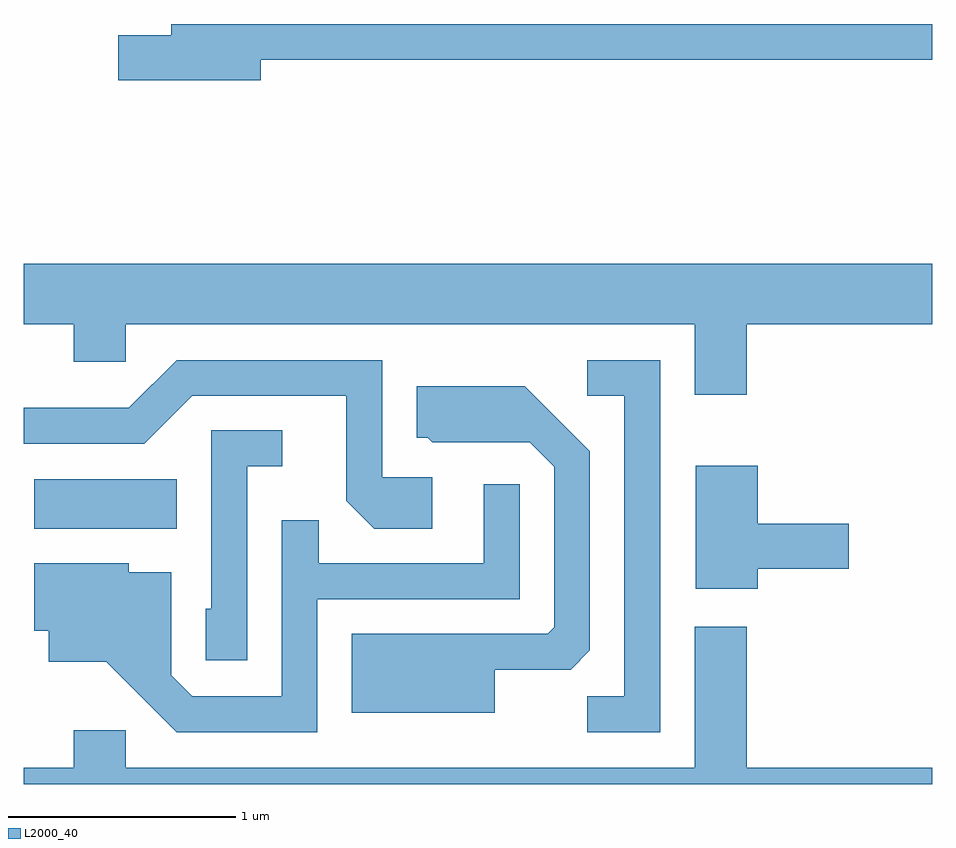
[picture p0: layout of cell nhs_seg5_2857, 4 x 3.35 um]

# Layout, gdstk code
import gdstk
lib = gdstk.Library(unit=1e-6, precision=1e-09)
def R(c, l, rs):  # rectangles x0, y0, x1, y1
    for r in rs: c.add(gdstk.rectangle(r[:2], r[2:], *l))
def P(c, l, *ps):  # polygons
    for p in ps: c.add(gdstk.Polygon(p, *l))
L2000_40 = (2000, 40)

nhs_seg5_2857 = lib.new_cell('nhs_seg5_2857')
R(nhs_seg5_2857, L2000_40, [(269.656,1489.196,270.284,1489.414)])
P(nhs_seg5_2857, L2000_40, [(270.654,1491.261),(273.611,1491.261),(273.611,1491.419),(270.261,1491.419),(270.261,1491.369),(270.026,1491.369),(270.026,1491.171),(270.654,1491.171)],
  [(272.794,1490.096),(273.611,1490.096),(273.611,1490.364),(269.611,1490.364),(269.611,1490.096),(269.831,1490.096),(269.831,1489.931),(270.059,1489.931),(270.059,1490.096),(272.566,1490.096),(272.566,1489.786),(272.794,1489.786)],
  [(272.414,1489.939),(272.093,1489.939),(272.093,1489.781),(272.256,1489.781),(272.256,1488.459),(272.093,1488.459),(272.093,1488.301),(272.414,1488.301)],
  [(271.409,1489.424),(271.189,1489.424),(271.189,1489.939),(270.284,1489.939),(270.074,1489.729),(269.611,1489.729),(269.611,1489.571),(270.142,1489.571),(270.352,1489.781),(271.031,1489.781),(271.031,1489.319),(271.154,1489.196),(271.409,1489.196)],
  [(271.684,1488.576),(272.019,1488.576),(272.104,1488.662),(272.104,1489.537),(271.817,1489.824),(271.341,1489.824),(271.341,1489.596),(271.389,1489.596),(271.409,1489.576),(271.839,1489.576),(271.946,1489.469),(271.946,1488.762),(271.919,1488.734),(271.056,1488.734),(271.056,1488.386),(271.684,1488.386)],
  [(270.594,1489.471),(270.748,1489.471),(270.748,1489.629),(270.436,1489.629),(270.436,1488.844),(270.411,1488.844),(270.411,1488.616),(270.594,1488.616)],
  [(272.844,1489.021),(273.244,1489.021),(273.244,1489.219),(272.844,1489.219),(272.844,1489.474),(272.571,1489.474),(272.571,1488.931),(272.844,1488.931)],
  [(270.904,1488.886),(271.794,1488.886),(271.794,1489.393),(271.636,1489.393),(271.636,1489.044),(270.909,1489.044),(270.909,1489.233),(270.746,1489.233),(270.746,1488.459),(270.352,1488.459),(270.259,1488.552),(270.259,1489.004),(270.074,1489.004),(270.074,1489.044),(269.656,1489.044),(269.656,1488.746),(269.721,1488.746),(269.721,1488.611),(269.974,1488.611),(270.284,1488.301),(270.904,1488.301)],
  [(273.611,1488.144),(272.794,1488.144),(272.794,1488.764),(272.566,1488.764),(272.566,1488.144),(270.059,1488.144),(270.059,1488.309),(269.831,1488.309),(269.831,1488.144),(269.611,1488.144),(269.611,1488.072),(273.611,1488.072)])

lib.write_gds('nhs_seg5_2857.gds')
